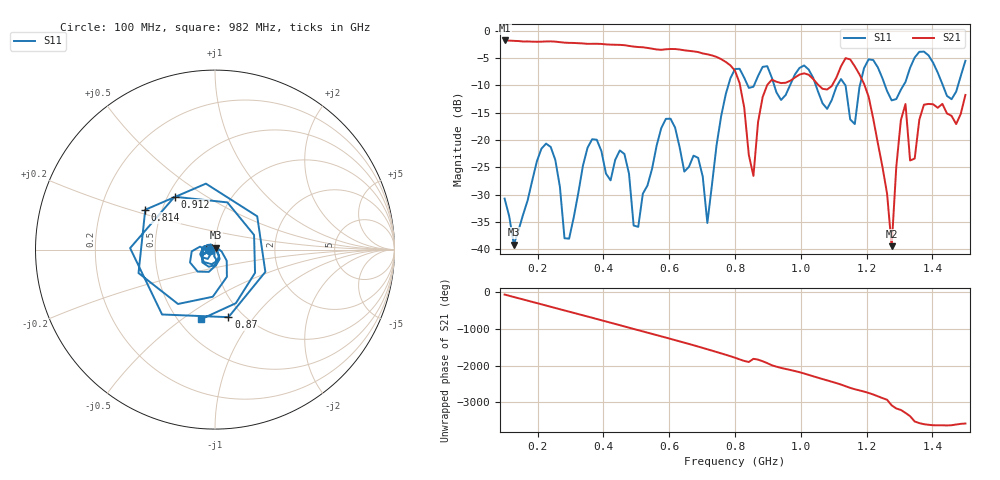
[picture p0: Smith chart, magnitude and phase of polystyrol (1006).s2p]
! NanoVNA-App
! Date: 2025-09-25 15:37:42
! Start: 100MHz Stop: 1,5GHz Points: 101
! S-Parameter data: F S11 S21 S12 S22
# Hz S RI R 50
!  Frequency  S11_Real  S11_Imag  S21_Real  S21_Imag  S12_Real  S12_Imag  S22_Real  S22_Imag
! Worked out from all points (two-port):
!   101 points, 100 MHz to 1.5 GHz, reference 50 ohm
!   highest |S21| = -1.80 dB at 100 MHz (marker M1); lowest = -39.4 dB at 1.276 GHz (marker M2)
!   |S21| within 3 dB of the highest: start of sweep to 743.4 MHz
!   lowest |S11| = -39.1 dB at 128 MHz (marker M3), VSWR 1.02, Z = 50.3 + j1.06 ohm
!   |S11| at or under -10 dB: start of sweep to 779.8 MHz; 1.046 GHz to 1.111 GHz (65.13 MHz wide, 6.04 % of centre); 1.135 GHz to 1.18 GHz (44.1 MHz wide, 3.81 % of centre) (the widest 3 of 7)
!   S12 and S22 are empty: the file has one direction only
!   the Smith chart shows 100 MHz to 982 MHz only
!   S11 on the Smith chart (normalised r, x): 100 MHz: 0.94, -0.01; 814 MHz: 0.40, +0.22; 870 MHz: 0.85, -0.76; 912 MHz: 0.54, +0.37; 982 MHz: 0.64, -0.59
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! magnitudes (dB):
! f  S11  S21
! 100 MHz  -30.7  -1.8
! 128 MHz  -39.1  -1.9
! 212 MHz  -21.6  -2.0
! 282 MHz  -38.0  -2.2
! 338 MHz  -24.7  -2.3
! 464 MHz  -22.6  -2.7
! 506 MHz  -35.9  -3.0
! 576 MHz  -17.8  -3.5
! 716 MHz  -35.2  -4.3
! 800 MHz  -7.0  -7.3
! 814 MHz  -7.0  -9.6
! 856 MHz  -10.3  -26.6
! 870 MHz  -8.3  -16.8
! 912 MHz  -8.6  -9.0
! 982 MHz  -8.0  -8.6
! 1.038 GHz  -8.7  -8.9
! 1.164 GHz  -17.1  -6.5
! 1.192 GHz  -6.9  -9.7
! 1.276 GHz  -12.8  -39.4
! 1.318 GHz  -9.4  -13.4
! 1.332 GHz  -6.8  -23.7
! 1.5 GHz  -5.5  -11.8
